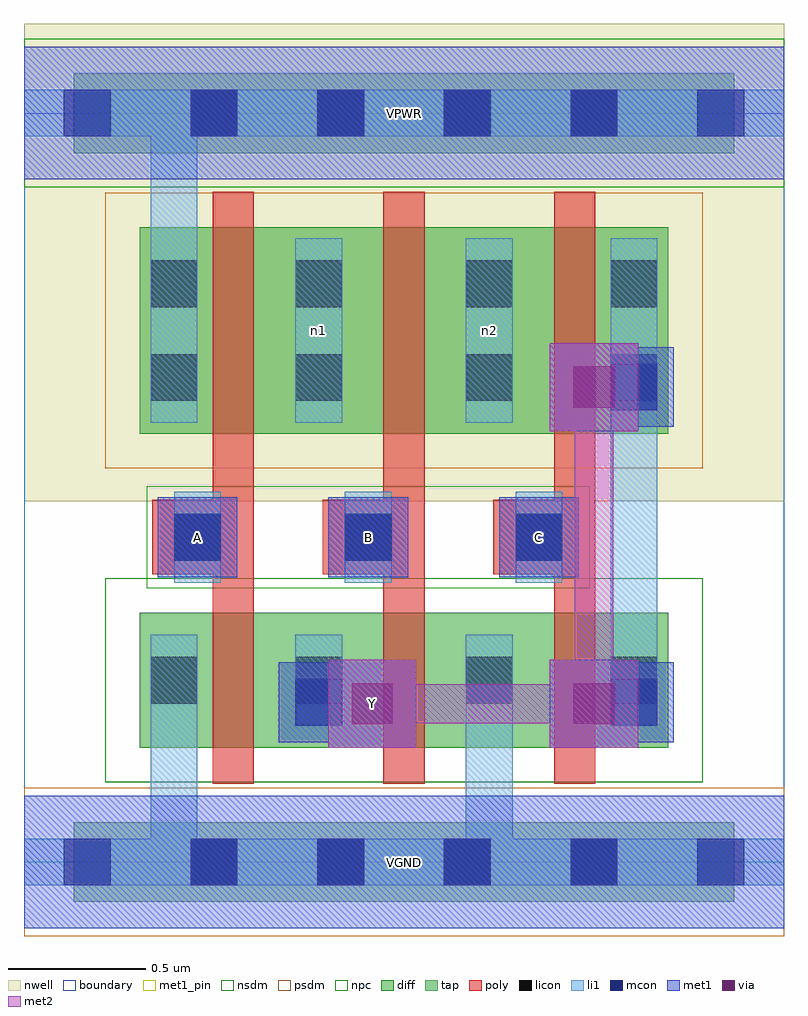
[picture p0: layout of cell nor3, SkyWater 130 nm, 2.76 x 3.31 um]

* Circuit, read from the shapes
.subckt nor3 A B C VGND VPWR Y n1 n2
XM1 Y A VGND VGND sky130_fd_pr__nfet_01v8 w=0.49 l=0.15
XM2 VGND B Y VGND sky130_fd_pr__nfet_01v8 w=0.49 l=0.15
XM3 Y C VGND VGND sky130_fd_pr__nfet_01v8 w=0.49 l=0.15
XM4 n1 A VPWR VPWR sky130_fd_pr__pfet_01v8 w=0.75 l=0.15
XM5 n2 B n1 VPWR sky130_fd_pr__pfet_01v8 w=0.75 l=0.15
XM6 Y C n2 VPWR sky130_fd_pr__pfet_01v8 w=0.75 l=0.15
.ends

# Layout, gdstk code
import gdstk
lib = gdstk.Library(unit=1e-6, precision=1e-09)
def R(c, l, rs):  # rectangles x0, y0, x1, y1
    for r in rs: c.add(gdstk.rectangle(r[:2], r[2:], *l))
def A(c, l, x, y, w, h, nx, ny, dx, dy):  # array of equal rectangles
    R(c, l, [(x+i*dx, y+j*dy, x+i*dx+w, y+j*dy+h) for i in range(nx) for j in range(ny)])
nwell = (64, 20)
diff = (65, 20)
tap = (65, 44)
poly = (66, 20)
licon = (66, 44)
li1 = (67, 20)
mcon = (67, 44)
met1_pin = (68, 16)
met1 = (68, 20)
via = (68, 44)
met2 = (69, 20)
nsdm = (93, 44)
psdm = (94, 20)
npc = (95, 20)
boundary = (235, 4)

nor3 = lib.new_cell('nor3')
R(nor3, nwell, [(0,1.31,2.76,3.045)])
R(nor3, diff, [(0.42,0.415,2.34,0.905), (0.42,1.555,2.34,2.305)])
R(nor3, tap, [(0.18,-0.145,2.58,0.145), (0.18,2.575,2.58,2.865)])
A(nor3, poly, 0.685, 0.285, 0.15, 2.15, 3, 1, 0.62, 0)
A(nor3, poly, 0.465, 1.045, 0.33, 0.27, 3, 1, 0.62, 0)
A(nor3, licon, 0.605, -0.085, 0.17, 0.17, 4, 2, 0.46, 2.72)
A(nor3, licon, 0.545, 1.095, 0.17, 0.17, 3, 1, 0.62, 0)
R(nor3, licon, [(0.46,0.575,0.63,0.745), (0.985,0.575,1.155,0.745), (1.605,0.575,1.775,0.745), (2.13,0.575,2.3,0.745), (0.46,1.675,0.63,1.845), (0.985,1.675,1.155,1.845), (1.605,1.675,1.775,1.845), (2.13,1.675,2.3,1.845), (0.46,2.015,0.63,2.185), (0.985,2.015,1.155,2.185), (1.605,2.015,1.775,2.185), (2.13,2.015,2.3,2.185)])
A(nor3, li1, 0.545, 1.015, 0.17, 0.33, 3, 1, 0.62, 0)
R(nor3, li1, [(0,-0.085,2.76,0.085), (0.46,-0.085,0.63,0.825), (1.605,-0.085,1.775,0.825), (0.46,0.495,0.63,0.825), (0.985,0.495,1.155,0.825), (1.605,0.495,1.775,0.825), (2.13,0.495,2.3,0.825), (2.13,0.495,2.3,2.265), (0.46,1.595,0.63,2.265), (0.46,1.595,0.63,2.805), (0.985,1.595,1.155,2.265), (1.605,1.595,1.775,2.265), (2.13,1.595,2.3,2.265), (0,2.635,2.76,2.805)])
A(nor3, mcon, 0.145, -0.085, 0.17, 0.17, 6, 2, 0.46, 2.72)
A(nor3, mcon, 0.545, 1.095, 0.17, 0.17, 3, 1, 0.62, 0)
R(nor3, mcon, [(0.985,0.495,1.155,0.665), (2.13,0.495,2.3,0.665), (2.13,1.64,2.3,1.81)])
A(nor3, met1_pin, 0.485, 1.035, 0.29, 0.29, 3, 1, 0.62, 0)
R(nor3, met1_pin, [(0,-0.24,2.76,0.24), (1.105,0.415,1.425,0.735), (0,2.48,2.76,2.96)])
A(nor3, met1, 0.485, 1.035, 0.29, 0.29, 3, 1, 0.62, 0)
R(nor3, met1, [(0,-0.24,2.76,0.24), (1.105,0.415,1.425,0.735), (1.91,0.415,2.23,0.735), (0.925,0.435,1.215,0.725), (2.07,0.435,2.36,0.725), (1.195,0.505,1.335,0.65), (2,0.505,2.14,0.65), (1,0.51,1.335,0.65), (2,0.51,2.285,0.65), (1.91,1.565,2.23,1.885), (2.07,1.58,2.36,1.87), (2,1.655,2.285,1.795), (0,2.48,2.76,2.96)])
R(nor3, via, [(1.19,0.5,1.34,0.65), (1.995,0.5,2.145,0.65), (1.995,1.65,2.145,1.8)])
R(nor3, met2, [(1.105,0.415,1.425,0.735), (1.91,0.415,2.23,0.735), (1.195,0.505,2.14,0.645), (2,0.505,2.14,1.795), (1.91,1.565,2.23,1.885)])
R(nor3, nsdm, [(0.295,0.29,2.465,1.03), (0,2.45,2.76,2.99)])
R(nor3, psdm, [(0,-0.27,2.76,0.27), (0.295,1.43,2.465,2.43)])
R(nor3, npc, [(0.445,0.995,2.055,1.365)])
R(nor3, boundary, [(0,0,2.76,2.72)])
nor3.add(gdstk.Label('n1', (1.07,1.93), layer=67, texttype=5))
nor3.add(gdstk.Label('n2', (1.69,1.93), layer=67, texttype=5))
nor3.add(gdstk.Label('A', (0.63,1.18), layer=68, texttype=5))
nor3.add(gdstk.Label('B', (1.25,1.18), layer=68, texttype=5))
nor3.add(gdstk.Label('C', (1.87,1.18), layer=68, texttype=5))
nor3.add(gdstk.Label('Y', (1.265,0.575), layer=68, texttype=5))
nor3.add(gdstk.Label('VPWR', (1.38,2.72), layer=68, texttype=5))
nor3.add(gdstk.Label('VGND', (1.38,0), layer=68, texttype=5))
nor3.add(gdstk.Label('A', (0.63,1.18), layer=68, texttype=16))
nor3.add(gdstk.Label('B', (1.25,1.18), layer=68, texttype=16))
nor3.add(gdstk.Label('C', (1.87,1.18), layer=68, texttype=16))
nor3.add(gdstk.Label('Y', (1.265,0.575), layer=68, texttype=16))
nor3.add(gdstk.Label('VPWR', (1.38,2.72), layer=68, texttype=16))
nor3.add(gdstk.Label('VGND', (1.38,0), layer=68, texttype=16))

lib.write_gds('nor3.gds')
